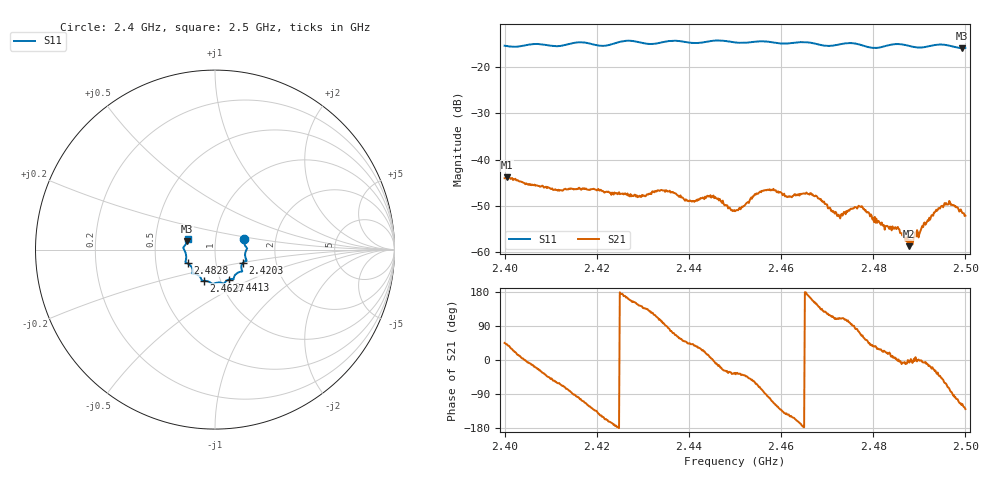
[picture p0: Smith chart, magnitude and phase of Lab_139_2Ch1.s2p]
# Hz S RI R 50
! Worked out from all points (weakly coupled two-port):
!   601 points, 2.4 GHz to 2.5 GHz, reference 50 ohm
!   highest |S21| = -43.87 dB at 2.4005 GHz (marker M1); lowest = -58.8 dB at 2.4878 GHz (marker M2)
!   lowest |S11| = -15.8 dB at 2.4993 GHz (marker M3), VSWR 1.39, Z = 36.5 + j3.62 ohm
!   |S11| at or under -10 dB: start of sweep to end of sweep
!   S12 and S22 are empty: the file has one direction only
!   S11 on the Smith chart (normalised r, x): 2.4 GHz: 1.37, +0.17; 2.4203 GHz: 1.35, -0.20; 2.4413 GHz: 1.09, -0.38; 2.4627 GHz: 0.83, -0.30; 2.4828 GHz: 0.73, -0.11; 2.5 GHz: 0.73, +0.09
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2.4e9  0.1615 0.0584  0.00445 0.00445  0 0  0 0
2.4005e9  0.1616 0.0533  0.00479 0.00426  0 0  0 0
2.411e9  0.1685 -0.0196  0.00257 -0.00402  0 0  0 0
2.416667e9  0.1762 -0.0622  -0.00132 -0.00453  0 0  0 0
2.420333e9  0.156 -0.0731  -0.00377 -0.003  0 0  0 0
2.429167e9  0.1408 -0.1234  -0.0032 0.00236  0 0  0 0
2.433333e9  0.1075 -0.148  -0.00163 0.00436  0 0  0 0
2.441333e9  0.0752 -0.1674  0.0028 0.0022  0 0  0 0
2.445167e9  0.0515 -0.187  0.00396 6.87e-05  0 0  0 0
2.45e9  0.0304 -0.1839  0.00229 -0.00154  0 0  0 0
2.456333e9  -0.0136 -0.1909  0.000321 -0.00465  0 0  0 0
2.462667e9  -0.0616 -0.1739  -0.00359 -0.00188  0 0  0 0
2.466667e9  -0.0744 -0.1682  -0.0039 0.00146  0 0  0 0
2.4725e9  -0.1145 -0.1344  -0.000794 0.0024  0 0  0 0
2.477167e9  -0.1248 -0.124  0.00107 0.00291  0 0  0 0
2.482833e9  -0.1531 -0.0767  0.0018 0.000626  0 0  0 0
2.483333e9  -0.1568 -0.0749  0.00176 0.00054  0 0  0 0
2.485167e9  -0.1642 -0.0709  0.00182 -5.5e-06  0 0  0 0
2.487833e9  -0.1616 -0.0553  0.00115 -0.000134  0 0  0 0
2.495333e9  -0.1756 0.0129  0.00174 -0.0027  0 0  0 0
2.499333e9  -0.1542 0.0483  -0.00116 -0.00237  0 0  0 0
2.5e9  -0.1522 0.0574  -0.00157 -0.00191  0 0  0 0
